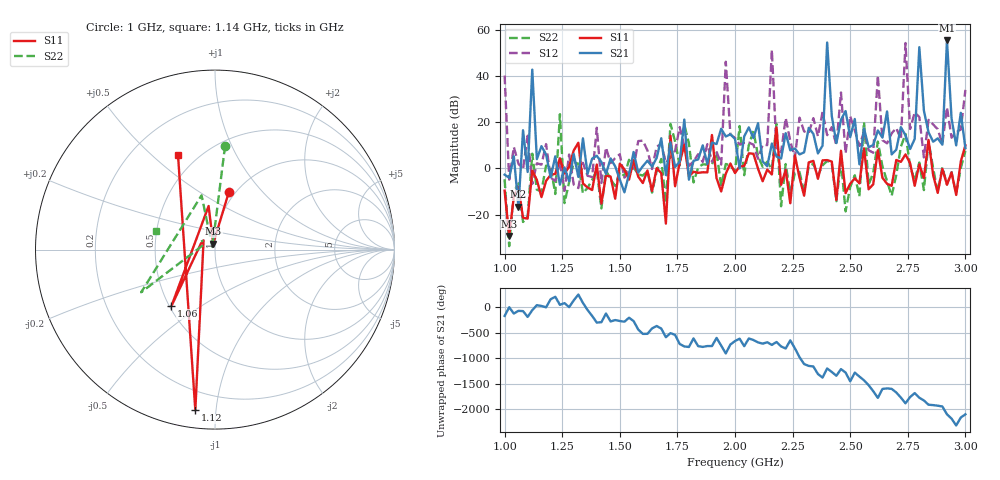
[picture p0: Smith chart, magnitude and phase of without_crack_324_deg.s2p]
# MHz S MA R 50
!  freq  S11  S21  S12  S22
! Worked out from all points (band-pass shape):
!   101 points, 1 GHz to 3 GHz, reference 50 ohm
!   highest |S21| = 55.49 dB at 2.92 GHz (marker M1); lowest = -16.6 dB at 1.06 GHz (marker M2)
!   |S21| within 3 dB of the highest: 2.399057 GHz to 2.401326 GHz (2.269 MHz wide, 0.0945 % of centre); 2.799959 GHz to 2.800059 GHz (100.2 kHz wide, 0.00358 % of centre) (the widest 2 of 3)
!   lowest |S11| = -29.2 dB at 1.02 GHz (marker M3), VSWR 1.07, Z = 48.9 + j3.25 ohm
!   |S11| at or under -10 dB: 1 GHz to 1.051 GHz (50.18 MHz wide, 4.89 % of centre); 1.063 GHz to 1.111 GHz (48.32 MHz wide, 4.45 % of centre); 1.154 GHz to 1.167 GHz (13.28 MHz wide, 1.15 % of centre) (the widest 3 of 12)
!   |S22| runs from -33.7 to 23.5 dB; largest |S21 - S12| = 6e+02
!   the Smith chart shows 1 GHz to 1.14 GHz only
!   S11 on the Smith chart (normalised r, x): 1 GHz: 0.93, +0.67; 1.06 GHz: 0.51, -0.38; 1.12 GHz: 0.09, -0.88; 1.14 GHz: 0.39, +0.61
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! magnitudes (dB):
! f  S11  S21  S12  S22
! 1 GHz  -9.6  -2.7  40.3  -4.7
! 1.02 GHz  -29.2  -4.0  -4.8  -33.7
! 1.06 GHz  -8.0  -16.6  2.1  -6.5
! 1.12 GHz  -0.9  42.8  -6.7  6.4
! 1.14 GHz  -5.0  4.0  2.3  -9.2
! 1.24 GHz  4.4  -7.0  2.8  23.5
! 1.34 GHz  -6.5  13.1  2.5  -10.8
! 1.68 GHz  -2.0  13.1  10.6  4.1
! 2 GHz  -2.0  12.8  13.3  -1.3
! 2.14 GHz  -0.5  1.0  10.1  3.0
! 2.16 GHz  -2.6  10.8  51.4  -0.4
! 2.18 GHz  17.9  5.2  8.4  19.4
! 2.2 GHz  -7.1  4.3  7.0  -16.4
! 2.34 GHz  3.3  15.0  21.8  2.0
! 2.4 GHz  3.6  54.6  14.4  3.2
! 2.44 GHz  -13.6  11.0  10.1  -14.2
! 2.68 GHz  -7.5  6.1  15.2  -11.8
! 2.74 GHz  6.1  14.4  54.4  14.9
! 2.8 GHz  1.8  52.6  22.3  2.6
! 2.9 GHz  -0.1  10.3  10.6  0.5
! 2.92 GHz  -7.0  55.5  26.5  -7.0
! 3 GHz  10.1  8.8  34.1  7.6
